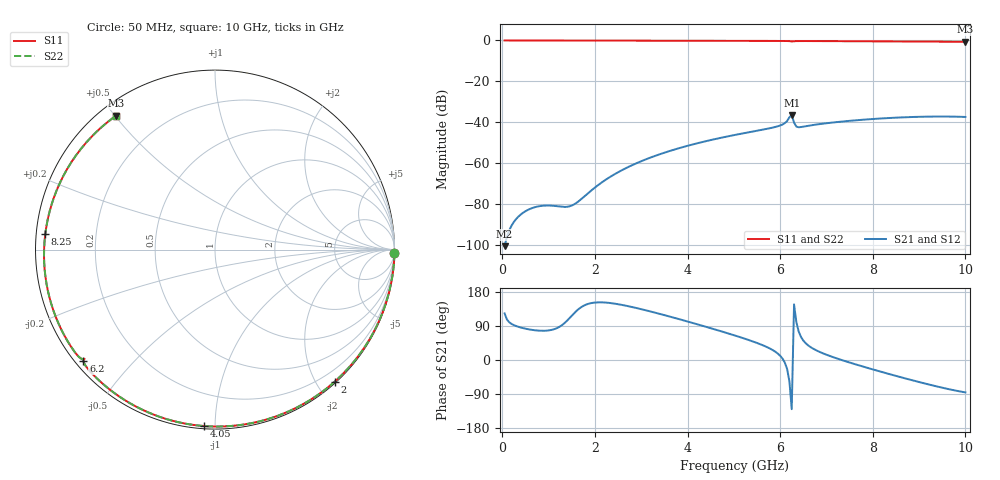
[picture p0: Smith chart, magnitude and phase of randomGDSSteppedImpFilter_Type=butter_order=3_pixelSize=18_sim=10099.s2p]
! freq	dB(S11)	phase(S11)	dB(S12)	phase(S12)
!  dB(S21)	phase(S21)	dB(S22)	phase(S22)
!S-par simulation data
#  GHz  S  DB  R 50
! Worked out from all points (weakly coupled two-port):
!   200 points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, 50 MHz to 10 GHz, reference 50 ohm
!   highest |S21| = -36.43 dB at 6.25 GHz (marker M1); lowest = -100.6 dB at 50 MHz (marker M2)
!   lowest |S11| = -0.7 dB at 10 GHz (marker M3), VSWR 26.55, Z = 2.36 + j25.2 ohm
!   |S11| at or under -10 dB: nowhere
!   |S22| runs from -0.7 to 0.0 dB; largest |S21 - S12| = 0
!   S11 on the Smith chart (normalised r, x): 50 MHz: 0, -94; 2 GHz: 0.02, -2.26; 4.05 GHz: 0.01, -0.94; 6.2 GHz: 0.02, -0.37; 8.25 GHz: 0.03, +0.05; 10 GHz: 0.05, +0.50
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0.05  -0.00 -1.2  -100.64 122.9  -100.64 122.9  -0.00 -1.2
0.75  -0.02 -18.2  -81.31 77.9  -81.31 77.9  -0.02 -18.2
1.55  -0.05 -37.2  -80.20 123.4  -80.20 123.4  -0.05 -37.2
1.75  -0.05 -41.9  -76.74 142.8  -76.74 142.8  -0.05 -41.9
2  -0.06 -47.7  -71.97 151.6  -71.97 151.6  -0.06 -47.7
2.3  -0.07 -54.6  -67.15 150.8  -67.15 150.8  -0.07 -54.6
2.6  -0.08 -61.5  -63.26 145.0  -63.26 145.0  -0.08 -61.5
3.4  -0.11 -79.3  -55.67 121.7  -55.67 121.7  -0.11 -79.3
4.05  -0.13 -93.4  -51.24 99.9  -51.24 99.9  -0.13 -93.4
5.05  -0.18 -114.7  -46.10 63.6  -46.10 63.6  -0.18 -114.7
5.95  -0.24 -133.8  -41.98 16.9  -41.98 16.9  -0.24 -133.8
6.1  -0.26 -137.2  -40.46 -6.7  -40.46 -6.7  -0.26 -137.2
6.2  -0.34 -139.7  -37.58 -56.2  -37.58 -56.2  -0.34 -139.6
6.25  -0.46 -140.1  -36.43 -129.8  -36.43 -129.8  -0.46 -140.1
6.3  -0.36 -140.4  -40.18 146.7  -40.18 146.7  -0.36 -140.4
6.35  -0.31 -141.6  -42.14 99.9  -42.14 99.9  -0.31 -141.6
6.7  -0.30 -149.5  -41.40 30.8  -41.40 30.8  -0.30 -149.5
7.5  -0.37 -167.4  -39.32 -6.7  -39.32 -6.7  -0.37 -167.4
8.25  -0.45 174.8  -38.07 -33.5  -38.07 -33.5  -0.45 174.9
8.35  -0.46 172.3  -37.94 -36.9  -37.94 -36.9  -0.46 172.4
9.2  -0.56 150.0  -37.26 -64.3  -37.26 -64.3  -0.56 150.1
10  -0.65 126.5  -37.42 -85.5  -37.42 -85.5  -0.65 126.6
